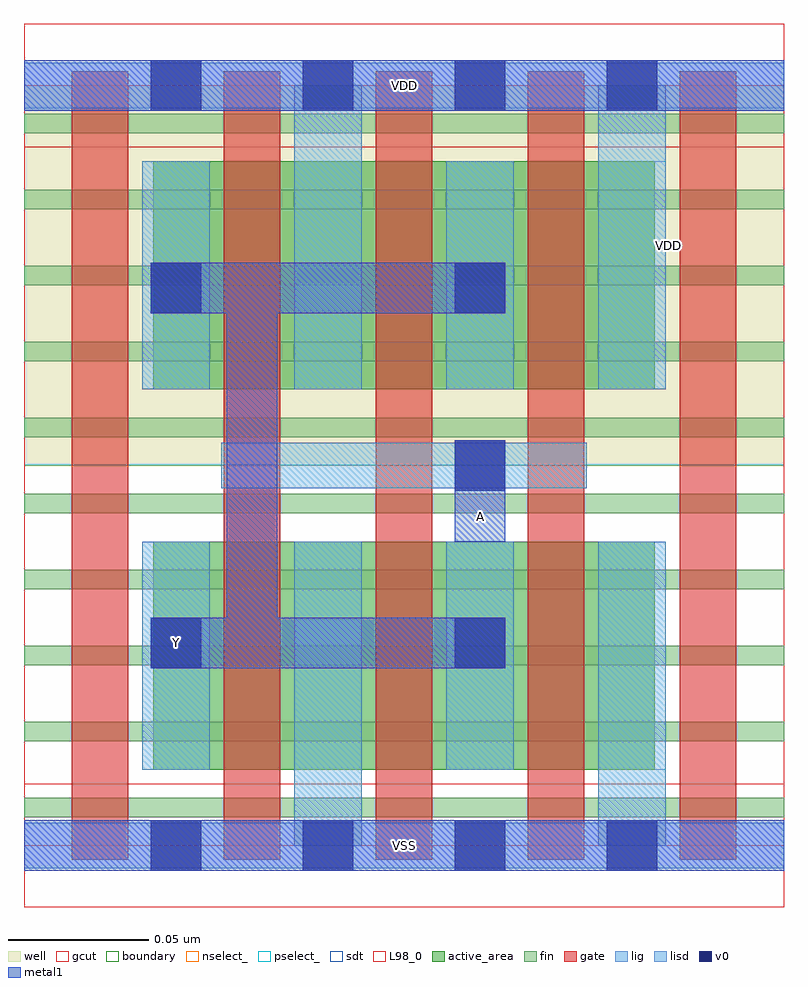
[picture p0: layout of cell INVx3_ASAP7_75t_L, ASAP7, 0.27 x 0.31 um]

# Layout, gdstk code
import gdstk
lib = gdstk.Library(unit=1e-6, precision=2.5e-10)
def R(c, l, rs):  # rectangles x0, y0, x1, y1
    for r in rs: c.add(gdstk.rectangle(r[:2], r[2:], *l))
def A(c, l, x, y, w, h, nx, ny, dx, dy):  # array of equal rectangles
    R(c, l, [(x+i*dx, y+j*dy, x+i*dx+w, y+j*dy+h) for i in range(nx) for j in range(ny)])
def P(c, l, *ps):  # polygons
    for p in ps: c.add(gdstk.Polygon(p, *l))
well = (1, 0)
fin = (2, 0)
gate = (7, 0)
gcut = (10, 0)
active_area = (11, 0)
nselect_ = (12, 0)
pselect_ = (13, 0)
lig = (16, 0)
lisd = (17, 0)
v0 = (18, 0)
metal1 = (19, 0)
sdt = (88, 0)
L98_0 = (98, 0)
boundary = (100, 0)

invx3_asap7_75t_l = lib.new_cell('INVx3_ASAP7_75t_L')
R(invx3_asap7_75t_l, well, [(0,0.135,0.27,0.27)])
A(invx3_asap7_75t_l, fin, 0, 0.01, 0.27, 0.007, 1, 10, 0, 0.027)
A(invx3_asap7_75t_l, gate, 0.017, -0.005, 0.02, 0.28, 5, 1, 0.054, 0)
R(invx3_asap7_75t_l, gcut, [(0,-0.022,0.27,0.022), (0,0.248,0.27,0.292)])
R(invx3_asap7_75t_l, active_area, [(0.046,0.027,0.224,0.108), (0.046,0.162,0.224,0.243)])
R(invx3_asap7_75t_l, nselect_, [(0,0,0.27,0.135)])
R(invx3_asap7_75t_l, pselect_, [(0,0.135,0.27,0.27)])
R(invx3_asap7_75t_l, lig, [(0,-0.008,0.27,0.008), (0.07,0.127,0.2,0.143), (0,0.262,0.27,0.278)])
R(invx3_asap7_75t_l, lisd, [(0.096,0,0.12,0.108), (0.204,0,0.228,0.108), (0.042,0.027,0.066,0.108), (0.15,0.027,0.174,0.108), (0.042,0.162,0.066,0.243), (0.096,0.162,0.12,0.27), (0.15,0.162,0.174,0.243), (0.204,0.162,0.228,0.27)])
A(invx3_asap7_75t_l, v0, 0.045, -0.009, 0.018, 0.018, 4, 2, 0.054, 0.27)
A(invx3_asap7_75t_l, v0, 0.153, 0.063, 0.018, 0.018, 1, 3, 0, 0.063)
R(invx3_asap7_75t_l, v0, [(0.045,0.063,0.063,0.081), (0.045,0.189,0.063,0.207)])
R(invx3_asap7_75t_l, metal1, [(0,-0.009,0.27,0.009), (0.153,0.108,0.171,0.144), (0,0.261,0.27,0.279)])
P(invx3_asap7_75t_l, metal1, [(0.171,0.207),(0.045,0.207),(0.045,0.189),(0.072,0.189),(0.072,0.081),(0.045,0.081),(0.045,0.063),(0.171,0.063),(0.171,0.081),(0.09,0.081),(0.09,0.189),(0.171,0.189)])
A(invx3_asap7_75t_l, sdt, 0.042, 0.027, 0.024, 0.081, 4, 2, 0.054, 0.135)
R(invx3_asap7_75t_l, L98_0, [(0,0,0.27,0.27)])
R(invx3_asap7_75t_l, boundary, [(0,0,0.27,0.27)])
invx3_asap7_75t_l.add(gdstk.Label('A', (0.162,0.117), layer=19, texttype=251))
invx3_asap7_75t_l.add(gdstk.Label('Y', (0.054,0.072), layer=19, texttype=251))
invx3_asap7_75t_l.add(gdstk.Label('VSS', (0.135,0), layer=19, texttype=251))
invx3_asap7_75t_l.add(gdstk.Label('VDD', (0.135,0.27), layer=19, texttype=251))
invx3_asap7_75t_l.add(gdstk.Label('VDD', (0.229,0.213), layer=1, texttype=251))
invx3_asap7_75t_l.add(gdstk.Label('VSS', (0.31,0.213), layer=3, texttype=251))

lib.write_gds('INVx3_ASAP7_75t_L.gds')
